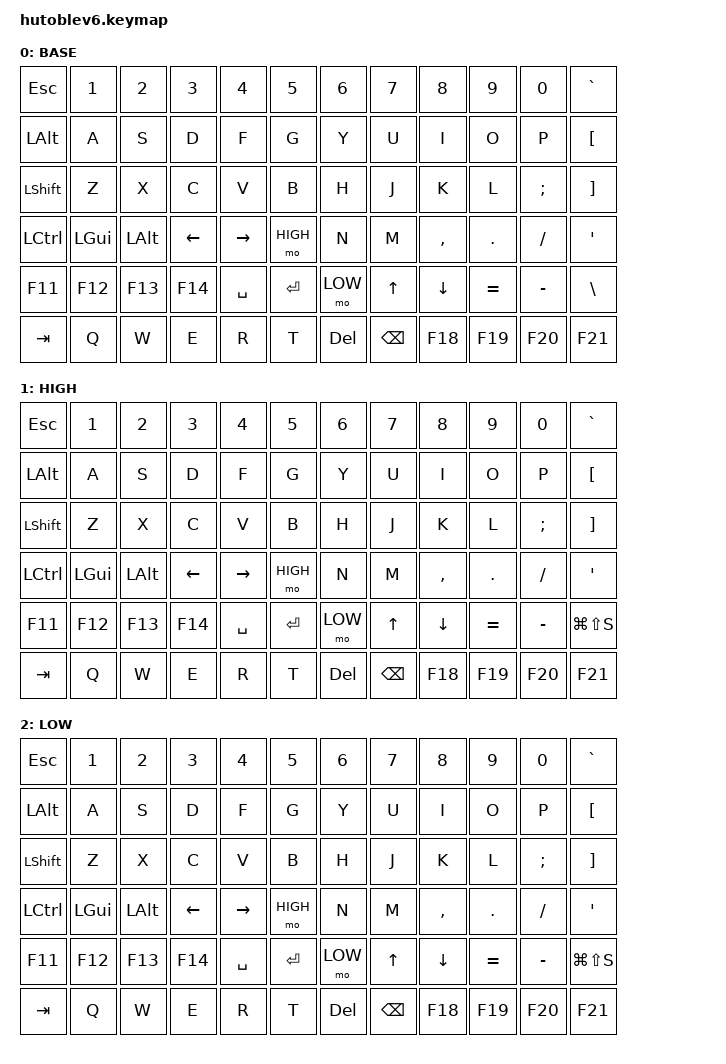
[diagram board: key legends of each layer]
#include <behaviors.dtsi>
#include <dt-bindings/zmk/keys.h>
#include <dt-bindings/zmk/bt.h>
#include <dt-bindings/zmk/outputs.h>

#define BASE 0
#define HIGH 1
#define LOW 1


/ {
   keymap {
        compatible = "zmk,keymap";
        base_layer {
            label= "BASE";
                bindings = <
                /*Row 1*/
                &kp ESC     &kp N1      &kp N2      &kp N3      &kp N4      &kp N5        &kp N6      &kp N7       &kp N8      &kp N9      &kp N0      &kp GRAVE
                /*Row 3*/
                &kp LALT    &kp A       &kp S       &kp D       &kp F       &kp G         &kp Y       &kp U        &kp I       &kp O       &kp P       &kp LBKT
                /*Row 4*/
                &kp LSHIFT  &kp Z       &kp X       &kp C       &kp V       &kp B         &kp H       &kp J        &kp K       &kp L       &kp SEMI    &kp RBKT
                /*Row 5*/
                &kp LCTRL   &kp LGUI   &kp LALT     &kp LEFT    &kp RIGHT   &mo HIGH      &kp N       &kp M        &kp COMMA   &kp DOT     &kp FSLH    &kp SQT 
                /*Row 6*/
                &kp F11     &kp F12    &kp F13      &kp F14     &kp SPACE   &kp ENTER     &mo LOW     &kp UP       &kp DOWN    &kp EQUAL    &kp MINUS  &kp BSLH 
                /*Row 2*/
                &kp TAB     &kp Q       &kp W       &kp E       &kp R       &kp T         &kp DEL     &kp BSPC     &kp F18     &kp F19     &kp F20     &kp F21 
                        >;
                };

        high_layer {
            label= "HIGH";
                bindings = <
                /*Row 1*/
                &kp ESC     &kp N1      &kp N2      &kp N3      &kp N4      &kp N5        &kp N6      &kp N7       &kp N8      &kp N9      &kp N0      &kp GRAVE
                /*Row 3*/
                &kp LALT    &kp A       &kp S       &kp D       &kp F       &kp G         &kp Y       &kp U        &kp I       &kp O       &kp P       &kp LBKT
                /*Row 4*/
                &kp LSHIFT  &kp Z       &kp X       &kp C       &kp V       &kp B         &kp H       &kp J        &kp K       &kp L       &kp SEMI    &kp RBKT
                /*Row 5*/
                &kp LCTRL   &kp LGUI   &kp LALT     &kp LEFT    &kp RIGHT   &mo HIGH      &kp N       &kp M        &kp COMMA   &kp DOT     &kp FSLH    &kp SQT 
                /*Row 6*/
                &kp F11     &kp F12    &kp F13      &kp F14     &kp SPACE   &kp ENTER     &mo LOW     &kp UP       &kp DOWN    &kp EQUAL    &kp MINUS  &kp LG(LS(S))
                /*Row 2*/
                &kp TAB     &kp Q       &kp W       &kp E       &kp R       &kp T         &kp DEL     &kp BSPC     &kp F18     &kp F19     &kp F20     &kp F21 
                        >;
                };

        low_layer {
            label= "LOW";
                bindings = <
                /*Row 1*/
                &kp ESC     &kp N1      &kp N2      &kp N3      &kp N4      &kp N5        &kp N6      &kp N7       &kp N8      &kp N9      &kp N0      &kp GRAVE
                /*Row 3*/
                &kp LALT    &kp A       &kp S       &kp D       &kp F       &kp G         &kp Y       &kp U        &kp I       &kp O       &kp P       &kp LBKT
                /*Row 4*/
                &kp LSHIFT  &kp Z       &kp X       &kp C       &kp V       &kp B         &kp H       &kp J        &kp K       &kp L       &kp SEMI    &kp RBKT
                /*Row 5*/
                &kp LCTRL   &kp LGUI   &kp LALT     &kp LEFT    &kp RIGHT   &mo HIGH      &kp N       &kp M        &kp COMMA   &kp DOT     &kp FSLH    &kp SQT 
                /*Row 6*/
                &kp F11     &kp F12    &kp F13      &kp F14     &kp SPACE   &kp ENTER     &mo LOW     &kp UP       &kp DOWN    &kp EQUAL    &kp MINUS  &kp LG(LS(S))
                /*Row 2*/
                &kp TAB     &kp Q       &kp W       &kp E       &kp R       &kp T         &kp DEL     &kp BSPC     &kp F18     &kp F19     &kp F20     &kp F21 
                        >;
                };

        };
};
